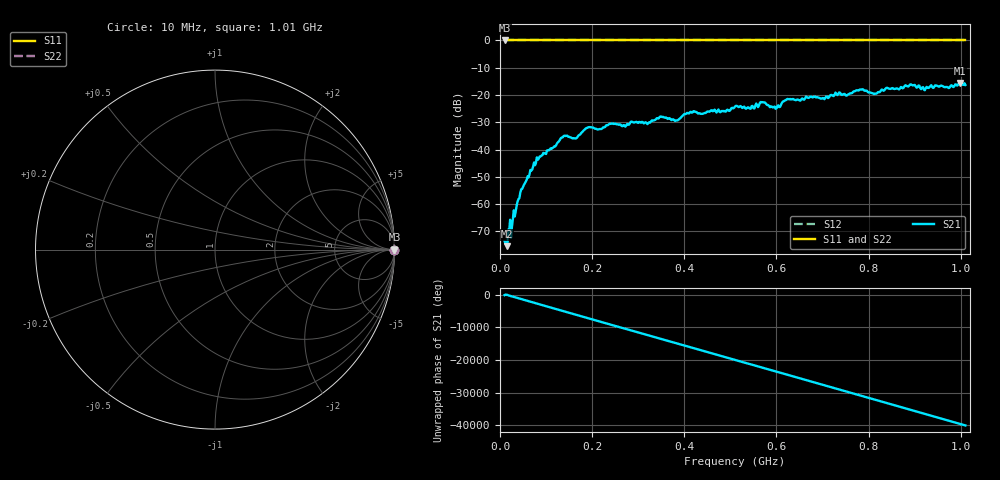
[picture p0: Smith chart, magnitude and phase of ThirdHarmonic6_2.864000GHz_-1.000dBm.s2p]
! 8/17/2025 7:48:32 AM
! C:\ANRITSUVNA\TEMP\TEMP.S2P
! CHANNEL.1
! TR.MEASUREMENT
! RAW.DATA
! RF.CORRECTION.OFF
! AVERAGING.OFF
! IF.BANDWIDTH: 5KHZ
! SWEEPTYPE:  FREQ.SWEEP(Linear)
! Reference Plane Port Info
! PORT:  PORT1  PORT2
! DISTANCE:  0  m  0  m
! TIME:  0  s  0  s
! PHASE.OFFSET:  0  deg.  0  deg.
! LOSS:  0  dB  0  dB
! REF.LOSS:  0  dB  0  dB
! REF.FREQ:  0  Hz  0  Hz
! Power Info
! POWER:  -20  dBm  -20  dBm
! EFF.POWER:  -20  dBm  -20  dBm
! SOURCE.ATTEN:  0  dB  0  dB
! TEST.ATTEN:  0  dB  0  dB
# GHZ S RI R 50.0
! FREQ.GHZ  S11RE  S11IM  S21RE  S21IM  S12RE  S12IM  S22RE  S22IM
!; PortSelection: Port_12
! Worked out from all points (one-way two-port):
!   501 points, 10 MHz to 1.01 GHz, reference 50 ohm
!   highest |S21| = -15.56 dB at 998 MHz (marker M1); lowest = -75.4 dB at 16 MHz (marker M2)
!   lowest |S11| = 0.0 dB at 10 MHz (marker M3)
!   |S11| at or under -10 dB: nowhere
!   |S22| runs from 0.0 to 0.0 dB; largest |S21 - S12| = 1.2
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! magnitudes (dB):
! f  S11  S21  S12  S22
! 10 MHz  0.0  -73.6  0.0  0.0
! 16 MHz  0.0  -75.4  0.0  0.0
! 48 MHz  0.0  -54.5  0.0  0.0
! 76 MHz  0.0  -45.8  0.0  0.0
! 136 MHz  0.0  -35.6  0.0  0.0
! 162 MHz  0.0  -35.9  0.0  0.0
! 178 MHz  0.0  -33.7  0.0  0.0
! 192 MHz  0.0  -31.8  0.0  0.0
! 322 MHz  0.0  -30.2  0.0  0.0
! 344 MHz  0.0  -28.6  0.0  0.0
! 384 MHz  0.0  -29.3  0.0  0.0
! 416 MHz  0.0  -26.5  0.0  0.0
! 510 MHz  0.0  -24.2  0.0  0.0
! 570 MHz  0.0  -22.6  0.0  0.0
! 596 MHz  0.0  -24.2  0.0  0.0
! 622 MHz  0.0  -21.6  0.0  0.0
! 678 MHz  0.0  -20.9  0.0  0.0
! 784 MHz  0.0  -18.0  0.0  0.0
! 814 MHz  0.0  -19.5  0.0  0.0
! 844 MHz  0.0  -17.7  0.0  0.0
! 998 MHz  0.0  -15.6  0.0  0.0
! 1.01 GHz  0.0  -16.3  0.0  0.0
